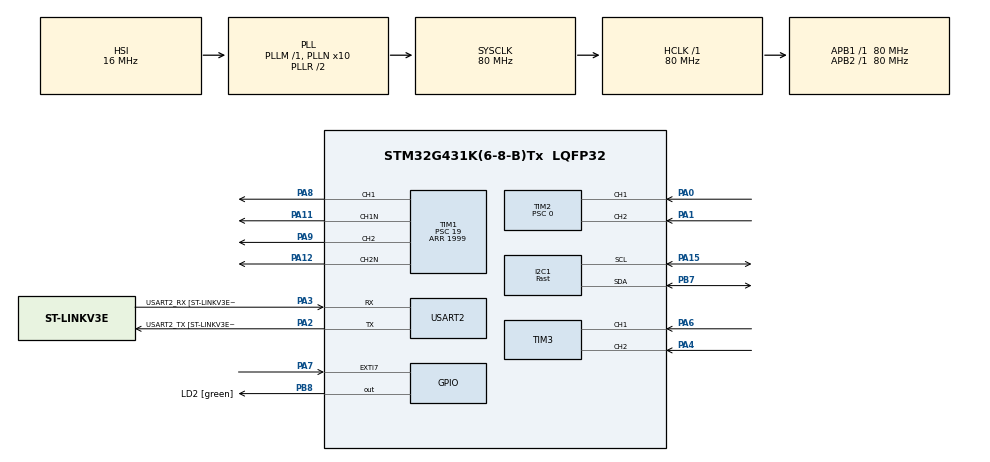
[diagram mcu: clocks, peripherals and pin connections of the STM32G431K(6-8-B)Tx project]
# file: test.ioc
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I2C1.CustomTiming=Disabled
I2C1.I2C_Speed_Mode=I2C_Fast
I2C1.Timing=0x00702991
Mcu.Family=STM32G4
Mcu.Name=STM32G431K(6-8-B)Tx
Mcu.Package=LQFP32
NVIC.EXTI9_5_IRQn=true\:0\:0\:false\:false\:true\:true\:true\:true
NVIC.PriorityGroup=NVIC_PRIORITYGROUP_4
NVIC.TIM1_TRG_COM_TIM17_IRQn=true\:0\:0\:false\:false\:true\:true\:true\:true
NVIC.TIM1_UP_TIM16_IRQn=true\:0\:0\:false\:false\:true\:true\:true\:true
PA0.Signal=S_TIM2_CH1
PA1.Signal=S_TIM2_CH2
PA11.Mode=PWM Generation1 CH1 CH1N
PA11.Signal=TIM1_CH1N
PA12.Mode=PWM Generation2 CH2 CH2N
PA12.Signal=TIM1_CH2N
PA13.GPIO_Label=T_SWDIO
PA13.Mode=Serial_Wire
PA13.Signal=SYS_JTMS-SWDIO
PA14.GPIO_Label=T_SWCLK
PA14.Mode=Serial_Wire
PA14.Signal=SYS_JTCK-SWCLK
PA15.Mode=I2C
PA15.Signal=I2C1_SCL
PA2.GPIO_Label=USART2_TX [ST-LINKV3E_VCP_RX]
PA2.Mode=Asynchronous
PA2.Signal=USART2_TX
PA3.GPIO_Label=USART2_RX [ST-LINKV3E_VCP_TX]
PA3.Mode=Asynchronous
PA3.Signal=USART2_RX
PA4.Signal=S_TIM3_CH2
PA6.Signal=S_TIM3_CH1
PA7.Signal=GPXTI7
PA8.Signal=S_TIM1_CH1
PA9.Signal=S_TIM1_CH2
PB7.Mode=I2C
PB7.Signal=I2C1_SDA
PB8-BOOT0.GPIO_Label=LD2 [green]
PB8-BOOT0.Signal=GPIO_Output
ProjectManager.HeapSize=0x200
ProjectManager.StackSize=0x400
ProjectManager.TargetToolchain=STM32CubeIDE
RCC.ADC12Freq_Value=80000000
RCC.AHBFreq_Value=80000000
RCC.APB1Freq_Value=80000000
RCC.APB1TimFreq_Value=80000000
RCC.APB2Freq_Value=80000000
RCC.APB2TimFreq_Value=80000000
RCC.CortexFreq_Value=80000000
RCC.EXTERNAL_CLOCK_VALUE=12288000
RCC.HCLKFreq_Value=80000000
RCC.HSE_VALUE=8000000
RCC.HSI48_VALUE=48000000
RCC.HSI_VALUE=16000000
RCC.LSE_VALUE=32768
RCC.PLLN=10
RCC.SYSCLKFreq_VALUE=80000000
RCC.SYSCLKSource=RCC_SYSCLKSOURCE_PLLCLK
RCC.USBFreq_Value=80000000
RCC.VCOOutputFreq_Value=160000000
SH.S_TIM1_CH1.0=TIM1_CH1,PWM Generation1 CH1 CH1N
SH.S_TIM1_CH2.0=TIM1_CH2,PWM Generation2 CH2 CH2N
SH.S_TIM2_CH1.0=TIM2_CH1,Encoder_Interface
SH.S_TIM2_CH2.0=TIM2_CH2,Encoder_Interface
SH.S_TIM3_CH1.0=TIM3_CH1,Encoder_Interface
SH.S_TIM3_CH2.0=TIM3_CH2,Encoder_Interface
TIM1.AsymmetricalDeadTime=DISABLE
TIM1.Channel-PWM\ Generation1\ CH1\ CH1N=TIM_CHANNEL_1
TIM1.Channel-PWM\ Generation2\ CH2\ CH2N=TIM_CHANNEL_2
TIM1.FallingDeadTime=5
TIM1.OCMode_PWM-PWM\ Generation1\ CH1\ CH1N=TIM_OCMODE_ASSYMETRIC_PWM1
TIM1.OCMode_PWM-PWM\ Generation2\ CH2\ CH2N=TIM_OCMODE_ASSYMETRIC_PWM1
TIM1.PeriodNoDither=1999
TIM1.Prescaler=19
TIM16.PeriodNoDither=999
TIM16.Prescaler=799
TIM17.PeriodNoDither=999
TIM17.Prescaler=79
TIM2.EncoderMode=TIM_ENCODERMODE_TI12
TIM2.PeriodNoDither=65535
TIM2.Prescaler=0
TIM3.EncoderMode=TIM_ENCODERMODE_TI12
USART2.VirtualMode-Asynchronous=VM_ASYNC
USART2.WordLength=WORDLENGTH_8B
VP_TIM16_VS_ClockSourceINT.Mode=Enable_Timer
VP_TIM17_VS_ClockSourceINT.Mode=Enable_Timer
VP_TIM1_VS_ClockSourceINT.Mode=Internal
board=NUCLEO-G431KB

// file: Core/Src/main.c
/* USER CODE BEGIN Header */
/**
  ******************************************************************************
  * @file           : main.c
  * @brief          : Main program body
  ******************************************************************************
  * @attention
  *
  * Copyright (c) 2023 STMicroelectronics.
  * All rights reserved.
  *
  * This software is licensed under terms that can be found in the LICENSE file
  * in the root directory of this software component.
  * If no LICENSE file comes with this software, it is provided AS-IS.
  *
  ******************************************************************************
  */
/* USER CODE END Header */
#include "main.h"

/* USER CODE BEGIN Includes */
#include <stdio.h>
#include "usrPID.h"
/* USER CODE END Includes */

/* USER CODE BEGIN PD */
#define BNO_ADDRESS 0x28

/* USER CODE END PD */

I2C_HandleTypeDef hi2c1;

TIM_HandleTypeDef htim1;
TIM_HandleTypeDef htim2;
TIM_HandleTypeDef htim3;
TIM_HandleTypeDef htim16;
TIM_HandleTypeDef htim17;

UART_HandleTypeDef huart2;

/* USER CODE BEGIN PV */
uint8_t Rxbuffer[6];

/* USER CODE END PV */

void SystemClock_Config(void);
static void MX_GPIO_Init(void);
static void MX_USART2_UART_Init(void);
static void MX_TIM2_Init(void);
static void MX_TIM3_Init(void);
static void MX_TIM1_Init(void);
static void MX_TIM17_Init(void);
static void MX_I2C1_Init(void);
static void MX_TIM16_Init(void);
/* USER CODE BEGIN PFP */
void usr_tim1_pwm_setvalue(int16_t value1, int16_t value2);
/* USER CODE END PFP */

/* USER CODE BEGIN 0 */
int _write(int file, char *ptr, int len)
{
	HAL_UART_Transmit(&huart2, (uint8_t *)ptr, len, 10);
	return len;
}

int32_t read_encoder_value(TIM_TypeDef *TIM)
{
	uint16_t enc_buff = TIM->CNT;
	TIM->CNT = 0;
	return (int16_t)enc_buff;
}

void BNO055_Init(void);
/* USER CODE END 0 */

int main(void)
{

  /* MCU Configuration--------------------------------------------------------*/

  /* Reset of all peripherals, Initializes the Flash interface and the Systick. */
  HAL_Init();

  /* Configure the system clock */
  SystemClock_Config();

  /* Initialize all configured peripherals */
  MX_GPIO_Init();
  MX_USART2_UART_Init();
  MX_TIM2_Init();
  MX_TIM3_Init();
  MX_TIM1_Init();
  MX_TIM17_Init();
  MX_I2C1_Init();
  MX_TIM16_Init();
  /* USER CODE BEGIN 2 */

  HAL_TIM_Encoder_Start(&htim2, TIM_CHANNEL_ALL);
  HAL_TIM_Encoder_Start(&htim3, TIM_CHANNEL_ALL);

  float euler[3];
  char eulerheader[3][10] = {"x", "y", "z"};

  BNO055_Init();

  HAL_I2C_Mem_Read(&hi2c1, 0x28 << 1, 0x3A, I2C_MEMADD_SIZE_8BIT, &Rxbuffer, 1, 100);
	//printf(Rxbuff, "Error");

	HAL_I2C_Mem_Read(&hi2c1, 0x28 << 1, 0x00, I2C_MEMADD_SIZE_8BIT, &Rxbuffer, 1, 100);
	//printf(Rxbuff, "ID");

	HAL_I2C_Mem_Read(&hi2c1, 0x28 << 1, 0x34, I2C_MEMADD_SIZE_8BIT, &Rxbuffer, 1, 100);
	//printf(Rxbuffer, "Temp");
	HAL_Delay(5000);

	user_tim1_pwm_setvalue(800, 800);
  /* USER CODE END 2 */

  /* Infinite loop */
  /* USER CODE BEGIN WHILE */
  while (1)
  {
	  /*
	  printf("Right:%d\r\n",read_encoder_value(TIM2));
	  printf("Left :%d\r\n",read_encoder_value(TIM3));
	  HAL_Delay(200);

	  HAL_I2C_Mem_Read(&hi2c1, BNO_ADDRESS << 1, 0x1A, I2C_MEMADD_SIZE_8BIT, Rxbuffer, 6, 100);

	  for(uint8_t i=0; i<3; i++){
		  euler[i] = (float)((Rxbuffer[i*2+1] << 8) | Rxbuffer[i*2])/16;
		  printf("%s:%f", eulerheader[i],euler[i]);

	  }*/

    /* USER CODE END WHILE */

  }
}

void SystemClock_Config(void)
{
  RCC_OscInitTypeDef RCC_OscInitStruct = {0};
  RCC_ClkInitTypeDef RCC_ClkInitStruct = {0};

  /** Configure the main internal regulator output voltage
  */
  HAL_PWREx_ControlVoltageScaling(PWR_REGULATOR_VOLTAGE_SCALE1);

  /** Initializes the RCC Oscillators according to the specified parameters
  * in the RCC_OscInitTypeDef structure.
  */
  RCC_OscInitStruct.OscillatorType = RCC_OSCILLATORTYPE_HSI;
  RCC_OscInitStruct.HSIState = RCC_HSI_ON;
  RCC_OscInitStruct.HSICalibrationValue = RCC_HSICALIBRATION_DEFAULT;
  RCC_OscInitStruct.PLL.PLLState = RCC_PLL_ON;
  RCC_OscInitStruct.PLL.PLLSource = RCC_PLLSOURCE_HSI;
  RCC_OscInitStruct.PLL.PLLM = RCC_PLLM_DIV1;
  RCC_OscInitStruct.PLL.PLLN = 10;
  RCC_OscInitStruct.PLL.PLLP = RCC_PLLP_DIV2;
  RCC_OscInitStruct.PLL.PLLQ = RCC_PLLQ_DIV2;
  RCC_OscInitStruct.PLL.PLLR = RCC_PLLR_DIV2;
  if (HAL_RCC_OscConfig(&RCC_OscInitStruct) != HAL_OK)
  {
    Error_Handler();
  }

  /** Initializes the CPU, AHB and APB buses clocks
  */
  RCC_ClkInitStruct.ClockType = RCC_CLOCKTYPE_HCLK|RCC_CLOCKTYPE_SYSCLK
                              |RCC_CLOCKTYPE_PCLK1|RCC_CLOCKTYPE_PCLK2;
  RCC_ClkInitStruct.SYSCLKSource = RCC_SYSCLKSOURCE_PLLCLK;
  RCC_ClkInitStruct.AHBCLKDivider = RCC_SYSCLK_DIV1;
  RCC_ClkInitStruct.APB1CLKDivider = RCC_HCLK_DIV1;
  RCC_ClkInitStruct.APB2CLKDivider = RCC_HCLK_DIV1;

  if (HAL_RCC_ClockConfig(&RCC_ClkInitStruct, FLASH_LATENCY_2) != HAL_OK)
  {
    Error_Handler();
  }
}

static void MX_I2C1_Init(void)
{

  hi2c1.Instance = I2C1;
  hi2c1.Init.Timing = 0x00702991;
  hi2c1.Init.OwnAddress1 = 0;
  hi2c1.Init.AddressingMode = I2C_ADDRESSINGMODE_7BIT;
  hi2c1.Init.DualAddressMode = I2C_DUALADDRESS_DISABLE;
  hi2c1.Init.OwnAddress2 = 0;
  hi2c1.Init.OwnAddress2Masks = I2C_OA2_NOMASK;
  hi2c1.Init.GeneralCallMode = I2C_GENERALCALL_DISABLE;
  hi2c1.Init.NoStretchMode = I2C_NOSTRETCH_DISABLE;
  if (HAL_I2C_Init(&hi2c1) != HAL_OK)
  {
    Error_Handler();
  }

  /** Configure Analogue filter
  */
  if (HAL_I2CEx_ConfigAnalogFilter(&hi2c1, I2C_ANALOGFILTER_ENABLE) != HAL_OK)
  {
    Error_Handler();
  }

  /** Configure Digital filter
  */
  if (HAL_I2CEx_ConfigDigitalFilter(&hi2c1, 0) != HAL_OK)
  {
    Error_Handler();
  }

}

static void MX_TIM1_Init(void)
{

  TIM_ClockConfigTypeDef sClockSourceConfig = {0};
  TIM_MasterConfigTypeDef sMasterConfig = {0};
  TIM_OC_InitTypeDef sConfigOC = {0};
  TIM_BreakDeadTimeConfigTypeDef sBreakDeadTimeConfig = {0};

  htim1.Instance = TIM1;
  htim1.Init.Prescaler = 19;
  htim1.Init.CounterMode = TIM_COUNTERMODE_UP;
  htim1.Init.Period = 1999;
  htim1.Init.ClockDivision = TIM_CLOCKDIVISION_DIV1;
  htim1.Init.RepetitionCounter = 0;
  htim1.Init.AutoReloadPreload = TIM_AUTORELOAD_PRELOAD_DISABLE;
  if (HAL_TIM_Base_Init(&htim1) != HAL_OK)
  {
    Error_Handler();
  }
  sClockSourceConfig.ClockSource = TIM_CLOCKSOURCE_INTERNAL;
  if (HAL_TIM_ConfigClockSource(&htim1, &sClockSourceConfig) != HAL_OK)
  {
    Error_Handler();
  }
  if (HAL_TIM_PWM_Init(&htim1) != HAL_OK)
  {
    Error_Handler();
  }
  sMasterConfig.MasterOutputTrigger = TIM_TRGO_RESET;
  sMasterConfig.MasterOutputTrigger2 = TIM_TRGO2_RESET;
  sMasterConfig.MasterSlaveMode = TIM_MASTERSLAVEMODE_DISABLE;
  if (HAL_TIMEx_MasterConfigSynchronization(&htim1, &sMasterConfig) != HAL_OK)
  {
    Error_Handler();
  }
  sConfigOC.OCMode = TIM_OCMODE_ASSYMETRIC_PWM1;
  sConfigOC.Pulse = 0;
  sConfigOC.OCPolarity = TIM_OCPOLARITY_HIGH;
  sConfigOC.OCNPolarity = TIM_OCNPOLARITY_HIGH;
  sConfigOC.OCFastMode = TIM_OCFAST_DISABLE;
  sConfigOC.OCIdleState = TIM_OCIDLESTATE_RESET;
  sConfigOC.OCNIdleState = TIM_OCNIDLESTATE_RESET;
  if (HAL_TIM_PWM_ConfigChannel(&htim1, &sConfigOC, TIM_CHANNEL_1) != HAL_OK)
  {
    Error_Handler();
  }
  if (HAL_TIM_PWM_ConfigChannel(&htim1, &sConfigOC, TIM_CHANNEL_2) != HAL_OK)
  {
    Error_Handler();
  }
  sBreakDeadTimeConfig.OffStateRunMode = TIM_OSSR_DISABLE;
  sBreakDeadTimeConfig.OffStateIDLEMode = TIM_OSSI_DISABLE;
  sBreakDeadTimeConfig.LockLevel = TIM_LOCKLEVEL_OFF;
  sBreakDeadTimeConfig.DeadTime = 0;
  sBreakDeadTimeConfig.BreakState = TIM_BREAK_DISABLE;
  sBreakDeadTimeConfig.BreakPolarity = TIM_BREAKPOLARITY_HIGH;
  sBreakDeadTimeConfig.BreakFilter = 0;
  sBreakDeadTimeConfig.BreakAFMode = TIM_BREAK_AFMODE_INPUT;
  sBreakDeadTimeConfig.Break2State = TIM_BREAK2_DISABLE;
  sBreakDeadTimeConfig.Break2Polarity = TIM_BREAK2POLARITY_HIGH;
  sBreakDeadTimeConfig.Break2Filter = 0;
  sBreakDeadTimeConfig.Break2AFMode = TIM_BREAK_AFMODE_INPUT;
  sBreakDeadTimeConfig.AutomaticOutput = TIM_AUTOMATICOUTPUT_DISABLE;
  if (HAL_TIMEx_ConfigBreakDeadTime(&htim1, &sBreakDeadTimeConfig) != HAL_OK)
  {
    Error_Handler();
  }
  HAL_TIM_MspPostInit(&htim1);

}

static void MX_TIM2_Init(void)
{

  TIM_Encoder_InitTypeDef sConfig = {0};
  TIM_MasterConfigTypeDef sMasterConfig = {0};

  htim2.Instance = TIM2;
  htim2.Init.Prescaler = 0;
  htim2.Init.CounterMode = TIM_COUNTERMODE_UP;
  htim2.Init.Period = 65535;
  htim2.Init.ClockDivision = TIM_CLOCKDIVISION_DIV1;
  htim2.Init.AutoReloadPreload = TIM_AUTORELOAD_PRELOAD_DISABLE;
  sConfig.EncoderMode = TIM_ENCODERMODE_TI12;
  sConfig.IC1Polarity = TIM_ICPOLARITY_RISING;
  sConfig.IC1Selection = TIM_ICSELECTION_DIRECTTI;
  sConfig.IC1Prescaler = TIM_ICPSC_DIV1;
  sConfig.IC1Filter = 0;
  sConfig.IC2Polarity = TIM_ICPOLARITY_RISING;
  sConfig.IC2Selection = TIM_ICSELECTION_DIRECTTI;
  sConfig.IC2Prescaler = TIM_ICPSC_DIV1;
  sConfig.IC2Filter = 0;
  if (HAL_TIM_Encoder_Init(&htim2, &sConfig) != HAL_OK)
  {
    Error_Handler();
  }
  sMasterConfig.MasterOutputTrigger = TIM_TRGO_RESET;
  sMasterConfig.MasterSlaveMode = TIM_MASTERSLAVEMODE_DISABLE;
  if (HAL_TIMEx_MasterConfigSynchronization(&htim2, &sMasterConfig) != HAL_OK)
  {
    Error_Handler();
  }

}

static void MX_TIM3_Init(void)
{

  TIM_Encoder_InitTypeDef sConfig = {0};
  TIM_MasterConfigTypeDef sMasterConfig = {0};

  htim3.Instance = TIM3;
  htim3.Init.Prescaler = 0;
  htim3.Init.CounterMode = TIM_COUNTERMODE_UP;
  htim3.Init.Period = 65535;
  htim3.Init.ClockDivision = TIM_CLOCKDIVISION_DIV1;
  htim3.Init.AutoReloadPreload = TIM_AUTORELOAD_PRELOAD_DISABLE;
  sConfig.EncoderMode = TIM_ENCODERMODE_TI12;
  sConfig.IC1Polarity = TIM_ICPOLARITY_RISING;
  sConfig.IC1Selection = TIM_ICSELECTION_DIRECTTI;
  sConfig.IC1Prescaler = TIM_ICPSC_DIV1;
  sConfig.IC1Filter = 0;
  sConfig.IC2Polarity = TIM_ICPOLARITY_RISING;
  sConfig.IC2Selection = TIM_ICSELECTION_DIRECTTI;
  sConfig.IC2Prescaler = TIM_ICPSC_DIV1;
  sConfig.IC2Filter = 0;
  if (HAL_TIM_Encoder_Init(&htim3, &sConfig) != HAL_OK)
  {
    Error_Handler();
  }
  sMasterConfig.MasterOutputTrigger = TIM_TRGO_RESET;
  sMasterConfig.MasterSlaveMode = TIM_MASTERSLAVEMODE_DISABLE;
  if (HAL_TIMEx_MasterConfigSynchronization(&htim3, &sMasterConfig) != HAL_OK)
  {
    Error_Handler();
  }

}

static void MX_TIM16_Init(void)
{

  htim16.Instance = TIM16;
  htim16.Init.Prescaler = 799;
  htim16.Init.CounterMode = TIM_COUNTERMODE_UP;
  htim16.Init.Period = 999;
  htim16.Init.ClockDivision = TIM_CLOCKDIVISION_DIV1;
  htim16.Init.RepetitionCounter = 0;
  htim16.Init.AutoReloadPreload = TIM_AUTORELOAD_PRELOAD_DISABLE;
  if (HAL_TIM_Base_Init(&htim16) != HAL_OK)
  {
    Error_Handler();
  }

}

static void MX_TIM17_Init(void)
{

  htim17.Instance = TIM17;
  htim17.Init.Prescaler = 79;
  htim17.Init.CounterMode = TIM_COUNTERMODE_UP;
  htim17.Init.Period = 999;
  htim17.Init.ClockDivision = TIM_CLOCKDIVISION_DIV1;
  htim17.Init.RepetitionCounter = 0;
  htim17.Init.AutoReloadPreload = TIM_AUTORELOAD_PRELOAD_DISABLE;
  if (HAL_TIM_Base_Init(&htim17) != HAL_OK)
  {
    Error_Handler();
  }

}

static void MX_USART2_UART_Init(void)
{

  huart2.Instance = USART2;
  huart2.Init.BaudRate = 115200;
  huart2.Init.WordLength = UART_WORDLENGTH_8B;
  huart2.Init.StopBits = UART_STOPBITS_1;
  huart2.Init.Parity = UART_PARITY_NONE;
  huart2.Init.Mode = UART_MODE_TX_RX;
  huart2.Init.HwFlowCtl = UART_HWCONTROL_NONE;
  huart2.Init.OverSampling = UART_OVERSAMPLING_16;
  huart2.Init.OneBitSampling = UART_ONE_BIT_SAMPLE_DISABLE;
  huart2.Init.ClockPrescaler = UART_PRESCALER_DIV1;
  huart2.AdvancedInit.AdvFeatureInit = UART_ADVFEATURE_NO_INIT;
  if (HAL_UART_Init(&huart2) != HAL_OK)
  {
    Error_Handler();
  }
  if (HAL_UARTEx_SetTxFifoThreshold(&huart2, UART_TXFIFO_THRESHOLD_1_8) != HAL_OK)
  {
    Error_Handler();
  }
  if (HAL_UARTEx_SetRxFifoThreshold(&huart2, UART_RXFIFO_THRESHOLD_1_8) != HAL_OK)
  {
    Error_Handler();
  }
  if (HAL_UARTEx_DisableFifoMode(&huart2) != HAL_OK)
  {
    Error_Handler();
  }

}

static void MX_GPIO_Init(void)
{
  GPIO_InitTypeDef GPIO_InitStruct = {0};

  /* GPIO Ports Clock Enable */
  __HAL_RCC_GPIOA_CLK_ENABLE();
  __HAL_RCC_GPIOB_CLK_ENABLE();

  /*Configure GPIO pin Output Level */
  HAL_GPIO_WritePin(LD2_GPIO_Port, LD2_Pin, GPIO_PIN_RESET);

  /*Configure GPIO pin : PA7 */
  GPIO_InitStruct.Pin = GPIO_PIN_7;
  GPIO_InitStruct.Mode = GPIO_MODE_IT_RISING;
  GPIO_InitStruct.Pull = GPIO_NOPULL;
  HAL_GPIO_Init(GPIOA, &GPIO_InitStruct);

  /*Configure GPIO pin : LD2_Pin */
  GPIO_InitStruct.Pin = LD2_Pin;
  GPIO_InitStruct.Mode = GPIO_MODE_OUTPUT_PP;
  GPIO_InitStruct.Pull = GPIO_NOPULL;
  GPIO_InitStruct.Speed = GPIO_SPEED_FREQ_LOW;
  HAL_GPIO_Init(LD2_GPIO_Port, &GPIO_InitStruct);

  /* EXTI interrupt init*/
  HAL_NVIC_SetPriority(EXTI9_5_IRQn, 0, 0);
  HAL_NVIC_EnableIRQ(EXTI9_5_IRQn);

}

/* USER CODE BEGIN 4 */

void BNO055_Init(){
	HAL_Delay(700);
	uint8_t Txbuff;
	uint8_t Rxbuff;
	//char message[20];

	//Txbuff = 0x20;
	//HAL_I2C_Mem_Write(&hi2c1, 0x28 << 1, 0x3F, I2C_MEMADD_SIZE_8BIT, &Txbuff, 1, 100); //system trigger

	Txbuff = 0x00;
	HAL_I2C_Mem_Write(&hi2c1, 0x28 << 1, 0x3E, I2C_MEMADD_SIZE_8BIT, &Txbuff, 1, 100); //power mode

	Txbuff = 0x0C;
	HAL_I2C_Mem_Write(&hi2c1, 0x28 << 1, 0x3D, I2C_MEMADD_SIZE_8BIT, &Txbuff, 1, 100);//using Nine Degree of Freedom mode

	HAL_I2C_Mem_Read(&hi2c1, 0x28 << 1, 0x3A, I2C_MEMADD_SIZE_8BIT, &Rxbuff, 1, 100);

	HAL_I2C_Mem_Read(&hi2c1, 0x28 << 1, 0x00, I2C_MEMADD_SIZE_8BIT, &Rxbuff, 1, 100);

	HAL_I2C_Mem_Read(&hi2c1, 0x28 << 1, 0x34, I2C_MEMADD_SIZE_8BIT, &Rxbuff, 1, 100);

	//print_int(30, "testing");
	HAL_Delay(100);

}

void HAL_GPIO_EXTI_Callback(uint16_t GPIO_Pin){
	if(GPIO_Pin == GPIO_PIN_7){
		HAL_I2C_Mem_Read(&hi2c1, BNO_ADDRESS << 1, 0x1A, I2C_MEMADD_SIZE_8BIT, Rxbuffer, 6, 100);
	}

}

void usr_tim1_pwm_setvalue(int16_t value1, int16_t value2)
{
	/*
	value1 = (value1>1000)?1000:value1;
	value2 = (value2>1000)?1000:value2;

	value1 = (value1<-1000)?-1000:value1;
	value2 = (value2<-1000)?-1000:value2;
*/
	value1 = value1 + 1000;
	value2 = value2 + 1000;

	TIM_OC_InitTypeDef sConfigOC;
	sConfigOC.OCMode = TIM_OCMODE_ASSYMETRIC_PWM1;
	sConfigOC.Pulse = value1;
	sConfigOC.OCPolarity = TIM_OCPOLARITY_HIGH;
	sConfigOC.OCNPolarity = TIM_OCNPOLARITY_HIGH;
	sConfigOC.OCFastMode = TIM_OCFAST_DISABLE;
	sConfigOC.OCIdleState = TIM_OCIDLESTATE_RESET;
	sConfigOC.OCNIdleState = TIM_OCNIDLESTATE_RESET;
	HAL_TIM_PWM_ConfigChannel(&htim1, &sConfigOC, TIM_CHANNEL_1);
	HAL_TIM_PWM_Start(&htim1, TIM_CHANNEL_1);
	HAL_TIMEx_PWMN_Start(&htim1, TIM_CHANNEL_1);

	sConfigOC.OCMode = TIM_OCMODE_ASSYMETRIC_PWM1;
	sConfigOC.Pulse = value2;
	sConfigOC.OCPolarity = TIM_OCPOLARITY_HIGH;
	sConfigOC.OCNPolarity = TIM_OCNPOLARITY_HIGH;
	sConfigOC.OCFastMode = TIM_OCFAST_DISABLE;
	sConfigOC.OCIdleState = TIM_OCIDLESTATE_RESET;
	sConfigOC.OCNIdleState = TIM_OCNIDLESTATE_RESET;
	HAL_TIM_PWM_ConfigChannel(&htim1, &sConfigOC, TIM_CHANNEL_2);
	HAL_TIM_PWM_Start(&htim1, TIM_CHANNEL_2);
	HAL_TIMEx_PWMN_Start(&htim1, TIM_CHANNEL_2);
}

/* USER CODE END 4 */

void Error_Handler(void)
{
  __disable_irq();
  while (1)
  {
  }
}
